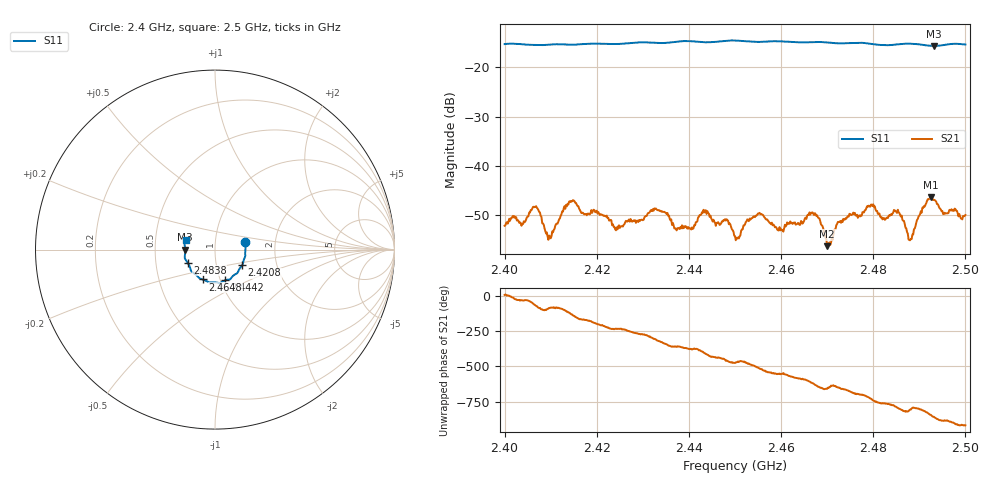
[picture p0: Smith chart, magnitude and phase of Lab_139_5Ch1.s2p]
# Hz S RI R 50
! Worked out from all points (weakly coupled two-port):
!   601 points, 2.4 GHz to 2.5 GHz, reference 50 ohm
!   highest |S21| = -46.41 dB at 2.4925 GHz (marker M1); lowest = -56.4 dB at 2.47 GHz (marker M2)
!   lowest |S11| = -15.6 dB at 2.4932 GHz (marker M3), VSWR 1.40, Z = 35.8 - j0.0826 ohm
!   |S11| at or under -10 dB: start of sweep to end of sweep
!   S12 and S22 are empty: the file has one direction only
!   S11 on the Smith chart (normalised r, x): 2.4 GHz: 1.40, +0.12; 2.4208 GHz: 1.33, -0.24; 2.4442 GHz: 1.05, -0.37; 2.4648 GHz: 0.83, -0.28; 2.4838 GHz: 0.73, -0.11; 2.5 GHz: 0.72, +0.08
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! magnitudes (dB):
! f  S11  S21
! 2.4 GHz  -15.2  -52.2
! 2.4067 GHz  -15.4  -48.4
! 2.4097 GHz  -15.4  -54.2
! 2.4142 GHz  -15.4  -47.2
! 2.4167 GHz  -15.3  -49.7
! 2.4208 GHz  -15.2  -49.9
! 2.4245 GHz  -15.2  -53.0
! 2.4333 GHz  -15.0  -49.1
! 2.4375 GHz  -14.7  -52.7
! 2.4442 GHz  -14.9  -49.6
! 2.45 GHz  -14.5  -54.4
! 2.4553 GHz  -14.8  -49.6
! 2.4648 GHz  -14.9  -51.6
! 2.4667 GHz  -14.8  -49.6
! 2.47 GHz  -14.9  -56.4
! 2.4792 GHz  -15.2  -48.3
! 2.4833 GHz  -15.5  -50.2
! 2.4838 GHz  -15.4  -49.9
! 2.4882 GHz  -15.2  -54.9
! 2.4925 GHz  -15.6  -46.4
! 2.4932 GHz  -15.6  -47.0
! 2.5 GHz  -15.3  -50.0
